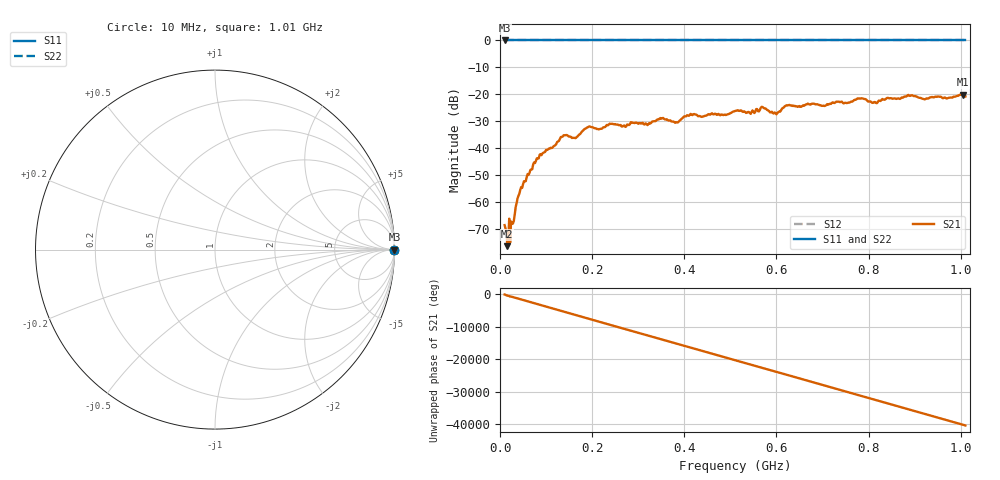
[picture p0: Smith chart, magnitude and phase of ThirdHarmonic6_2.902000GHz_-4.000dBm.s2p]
! 8/17/2025 8:01:14 AM
! C:\ANRITSUVNA\TEMP\TEMP.S2P
! CHANNEL.1
! TR.MEASUREMENT
! RAW.DATA
! RF.CORRECTION.OFF
! AVERAGING.OFF
! IF.BANDWIDTH: 5KHZ
! SWEEPTYPE:  FREQ.SWEEP(Linear)
! Reference Plane Port Info
! PORT:  PORT1  PORT2
! DISTANCE:  0  m  0  m
! TIME:  0  s  0  s
! PHASE.OFFSET:  0  deg.  0  deg.
! LOSS:  0  dB  0  dB
! REF.LOSS:  0  dB  0  dB
! REF.FREQ:  0  Hz  0  Hz
! Power Info
! POWER:  -20  dBm  -20  dBm
! EFF.POWER:  -20  dBm  -20  dBm
! SOURCE.ATTEN:  0  dB  0  dB
! TEST.ATTEN:  0  dB  0  dB
# GHZ S RI R 50.0
! FREQ.GHZ  S11RE  S11IM  S21RE  S21IM  S12RE  S12IM  S22RE  S22IM
!; PortSelection: Port_12
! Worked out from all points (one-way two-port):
!   501 points, 10 MHz to 1.01 GHz, reference 50 ohm
!   highest |S21| = -20.08 dB at 1.004 GHz (marker M1); lowest = -76.2 dB at 16 MHz (marker M2)
!   lowest |S11| = 0.0 dB at 10 MHz (marker M3)
!   |S11| at or under -10 dB: nowhere
!   |S22| runs from 0.0 to 0.0 dB; largest |S21 - S12| = 1.1
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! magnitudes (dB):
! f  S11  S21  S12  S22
! 10 MHz  0.0  -68.4  0.0  0.0
! 16 MHz  0.0  -76.2  0.0  0.0
! 18 MHz  0.0  -73.7  0.0  0.0
! 26 MHz  0.0  -67.9  0.0  0.0
! 42 MHz  0.0  -56.8  0.0  0.0
! 76 MHz  0.0  -45.4  0.0  0.0
! 136 MHz  0.0  -35.6  0.0  0.0
! 162 MHz  0.0  -36.1  0.0  0.0
! 178 MHz  0.0  -33.7  0.0  0.0
! 194 MHz  0.0  -31.8  0.0  0.0
! 318 MHz  0.0  -31.0  0.0  0.0
! 344 MHz  0.0  -29.3  0.0  0.0
! 384 MHz  0.0  -30.4  0.0  0.0
! 410 MHz  0.0  -27.9  0.0  0.0
! 510 MHz  0.0  -26.1  0.0  0.0
! 570 MHz  0.0  -24.7  0.0  0.0
! 598 MHz  0.0  -26.8  0.0  0.0
! 624 MHz  0.0  -24.1  0.0  0.0
! 678 MHz  0.0  -23.4  0.0  0.0
! 844 MHz  0.0  -21.4  0.0  0.0
! 1.004 GHz  0.0  -20.1  0.0  0.0
! 1.01 GHz  0.0  -20.7  0.0  0.0
